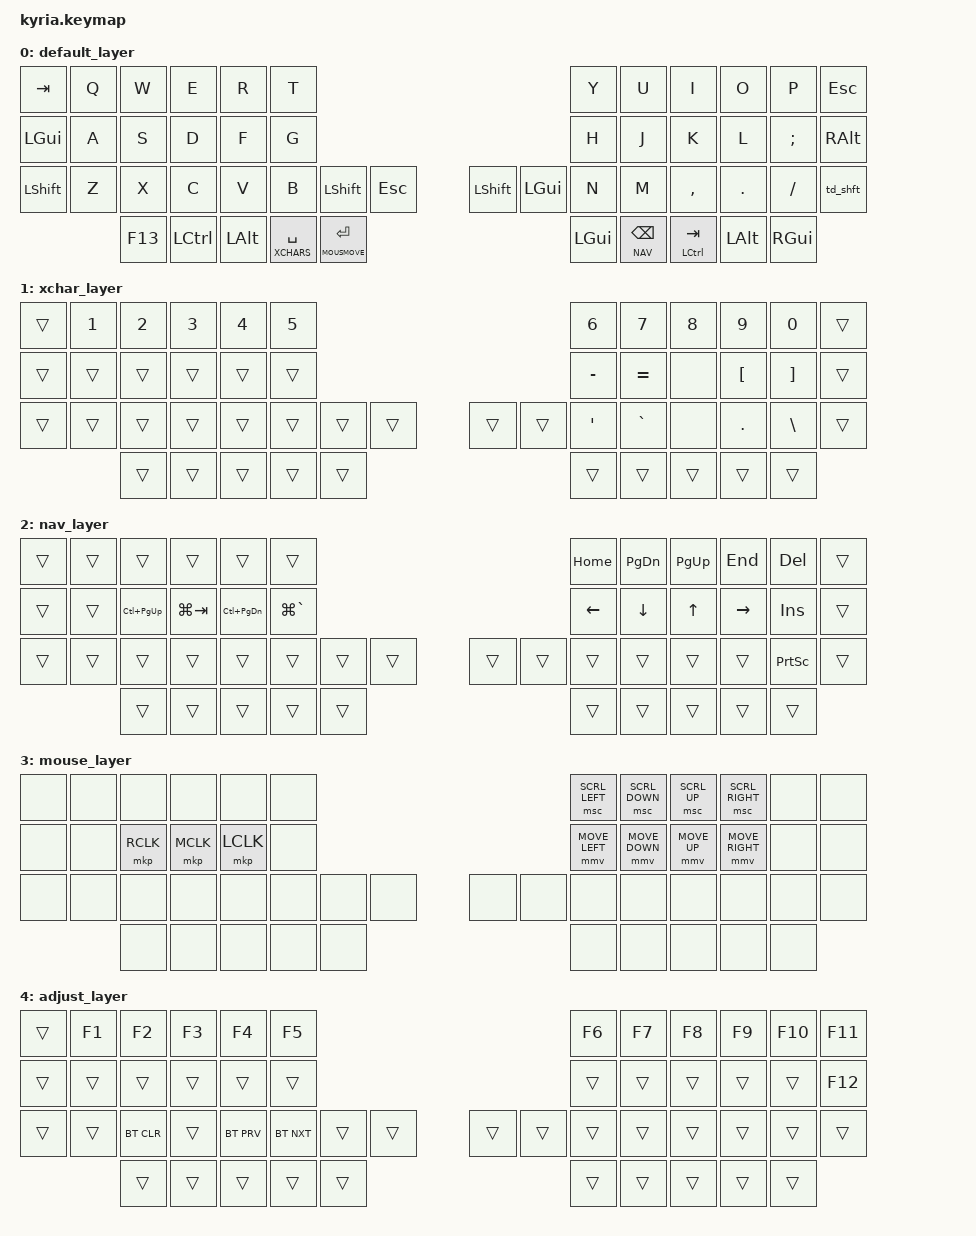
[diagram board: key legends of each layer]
/*
 * Copyright (c) 2020 The ZMK Contributors
 *
 * SPDX-License-Identifier: MIT
 */

#include <behaviors.dtsi>
#include <dt-bindings/zmk/bt.h>
#include <dt-bindings/zmk/keys.h>
#include <dt-bindings/zmk/pointing.h>

#define DEFAULT 0
#define XCHARS  1
#define NAV     2
#define MOUSMOVE 3
#define ADJUST  4

&mt {
    tapping-term-ms= <120>;
};

/ {
	behaviors {
		qht: quick_hold_tap {
		compatible = "zmk,behavior-hold-tap";
		label = "Q_HOLD_TAP";
		#binding-cells = <2>;
		flavor = "hold-preferred";
		tapping-term-ms = <220>;
		quick-tap-ms = <200>;
		bindings = <&mo>, <&kp>;
		};
		jht: just_hold_tap {
		compatible = "zmk,behavior-hold-tap";
		label = "J_HOLD_TAP";
		#binding-cells = <2>;
		flavor = "hold-preferred";
		tapping-term-ms = <220>;
		bindings = <&mo>, <&kp>;
		};
		mht: mouse_hold_tap {
		compatible = "zmk,behavior-hold-tap";
		label = "M_HOLD_TAP";
		#binding-cells = <2>;
		flavor = "hold-preferred";
		tapping-term-ms = <220>;
		bindings = <&mo>, <&kp>;
		};

		td_shft: tap_dance_shift {
			compatible = "zmk,behavior-tap-dance";
			label = "TAP_DANCE_SHIFT";
			#binding-cells = <0>;
			tapping-term-ms = <200>;
			bindings = <&kp RSHFT>, <&caps_word>;
		};
	};
	keymap {
		compatible = "zmk,keymap";

		default_layer {
// ---------------------------------------------------------------------------------------------------------------------------------
// |  ESC  |  Q  |  W  |  E   |  R   |  T   |                                          |  Y   |  U    |  I    |  O   |   P   |  ESC |
// | COMM  |  A  |  S  |  D   |  F   |  G   |                                          |  H   |  J    |  K    |  L   |   ;   | RALT |
// | SHIFT |  Z  |  X  |  C   |  V   |  B   | L SHIFT |   ESC   |  | L SHIFT | L SHIFT |  N   |  M    |  ,    |  .   |   /   | SHFT |
//                     |  FN  | CTRL | OPT  |  SPACE  |   RET   |  |   COMM  |  SPACE  | TAB  | BSPC  | R-ALT |
			bindings = <
	&kp TAB   &kp Q &kp W    &kp E     &kp R    &kp T                                                     &kp Y &kp U  &kp I     &kp O   &kp P    &kp ESC
	&kp LGUI  &kp A &kp S    &kp D     &kp F    &kp G                                                     &kp H &kp J  &kp K     &kp L   &kp SEMI &kp RALT
	&kp LSHFT &kp Z &kp X    &kp C     &kp V    &kp B &kp LSHFT   &kp ESC              &kp LSHFT &kp LGUI &kp N &kp M  &kp COMMA &kp DOT &kp FSLH &td_shft
                    &kp F13  &kp LCTRL &kp LALT &jht XCHARS SPACE &mht MOUSMOVE RET    &kp LGUI  &qht NAV BSPC &mt LCTRL TAB &kp LALT &kp RGUI
			>;

		};

		xchar_layer {
// ---------------------------------------------------------------------------------------------------------------------------------
// |       |  1  |  2  |  3   |  4   |  5   |                                          |  6   |  7    |  8    |  9   |  0    |      |
// |       |     |     |      |      |      |                                          | - _  | = +   |       | [ {  | ] }   |      |
// |       |     |     |      |      |      |         |         |  |         |         | ' "  | ` ~   |       |      | \ |   |      |
//                     |      |      |      |         |         |  |         |         |      |       |       |
			bindings = <
	&trans &kp N1 &kp N2 &kp N3 &kp N4 &kp N5                                         &kp N6    &kp N7    &kp N8 &kp N9   &kp N0   &trans
	&trans &trans &trans &trans &trans &trans                                         &kp MINUS &kp EQUAL &none  &kp LBKT &kp RBKT &trans
	&trans &trans &trans &trans &trans &trans &trans &trans             &trans &trans &kp APOS  &kp GRAVE &none  &kp DOT  &kp BSLH &trans
                         &trans &trans &trans &trans &trans             &trans &trans &trans &trans &trans
			>;

		};

		nav_layer {
// ---------------------------------------------------------------------------------------------------------------------------------
// |       |     |      |      |      |      |                                          | Home | PgDn  | PgUp  | End  | Del   |      |
// |       |     |CmdPgU|CmdTab|CmdPgD|CmdGra|                                          | Left | Down  | Up    | Right| Ins   |      |
// |       |     |      |      |      |      |         |         |  |         |         |      |       |       |      | PSCR  |      |
//                      |      |      |      |         |         |  |         |         |      |       |       |
			bindings = <
	&trans &trans &trans        &trans      &trans        &trans                               &kp HOME &kp PG_DN &kp PG_UP &kp END   &kp DEL   &trans
	&trans &trans &kp LC(PG_UP) &kp LG(TAB) &kp LC(PG_DN) &kp LG(GRAVE)                        &kp LEFT &kp DOWN  &kp UP    &kp RIGHT &kp INS   &trans
	&trans &trans &trans        &trans      &trans        &trans &trans &trans   &trans &trans &trans   &trans    &trans    &trans    &kp PSCRN &trans
                                &trans      &trans        &trans &trans &trans   &trans &trans &trans   &trans    &trans
			>;

		};

		mouse_layer {
// ---------------------------------------------------------------------------------------------------------------------------------
// |       |     |      |      |      |      |                                          |      |       |       |      |       |      |
// |       |     |      |RClick|MClick|LClick|                                          | Left | Down  | Up    | Right|       |      |
// |       |     |      |      |      |      |         |         |  |         |         |      |       |       |      |       |      |
//                      |      |      |      |         |         |  |         |         |      |       |       |
			bindings = <
	&none &none &none       &none     &none     &none                           &msc SCRL_LEFT &msc SCRL_DOWN &msc SCRL_UP &msc SCRL_RIGHT &none &none
	&none &none &mkp RCLK   &mkp MCLK &mkp LCLK &none                           &mmv MOVE_LEFT &mmv MOVE_DOWN &mmv MOVE_UP &mmv MOVE_RIGHT &none &none
	&none &none &none       &none     &none     &none &none &none   &none &none &none          &none          &none        &none           &none &none
                            &none     &none     &none &none &none   &none &none &none          &none          &none
			>;

		};

		adjust_layer {
// ---------------------------------------------------------------------------------------------------------------------------------
// |       |  F1  |  F2  |  F3  |  F4  |  F5  |                                          |  F6  |  F7   |  F8   |  F9  |  F10  |      |
// |       |      |      |      |      |      |                                          |      |       |       |  F11 |  F12  |      |
// |       |      |BT CLR|      |BT PRV|BT NXT|         |         |  |         |         |      |       |       |      |       |      |
//                       |      |      |      |         |         |  |         |         |      |       |       |
			bindings = <
	&trans &kp F1 &kp F2 &kp F3 &kp F4 &kp F5                                                     &kp F6 &kp F7 &kp F8 &kp F9  &kp F10 &kp F11
	&trans &trans &trans &trans &trans &trans                                                     &trans &trans &trans &trans  &trans  &kp F12
	&trans &trans &bt BT_CLR &trans &bt BT_PRV &bt BT_NXT &trans &trans             &trans &trans &trans &trans &trans &trans  &trans  &trans
                             &trans &trans     &trans     &trans &trans             &trans &trans &trans &trans &trans
			>;

		};
	};

	conditional_layers {
		compatible = "zmk,conditional-layers";
		tri_layer {
			if-layers = <1 2>;
			then-layer = <4>;
		};
	};

};
